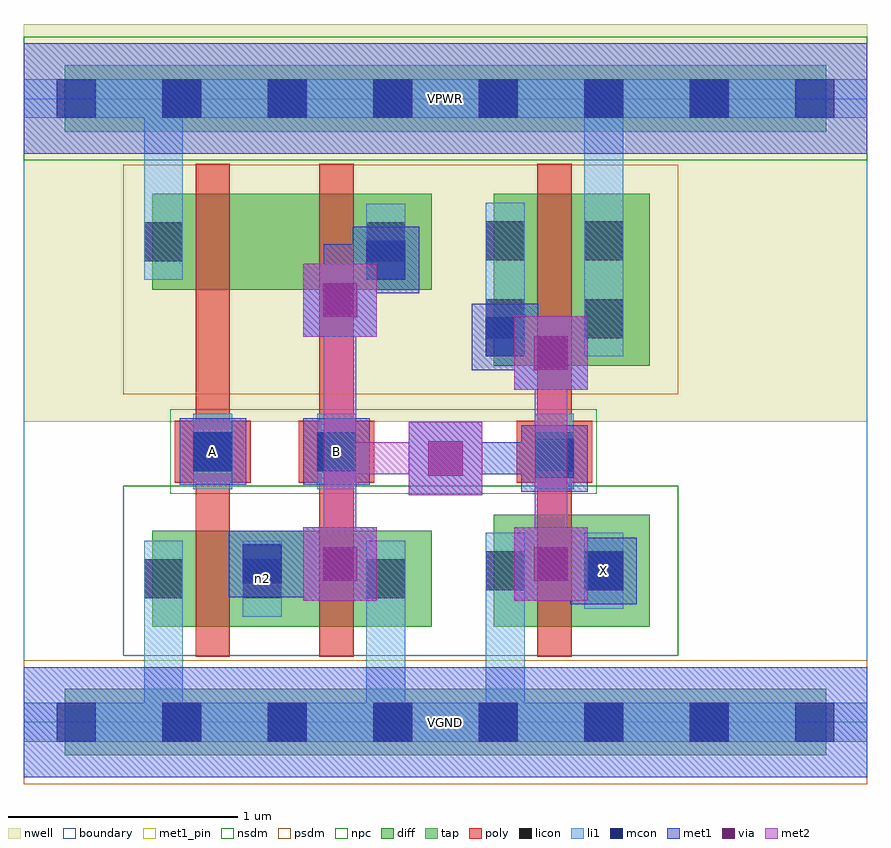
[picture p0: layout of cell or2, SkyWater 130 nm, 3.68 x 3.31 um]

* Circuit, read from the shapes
.subckt or2 A B VGND VPWR X n2
XM1 n2 A VGND VGND sky130_fd_pr__nfet_01v8 w=0.42 l=0.15
XM2 VGND B n2 VGND sky130_fd_pr__nfet_01v8 w=0.42 l=0.15
XM3 X n2 VGND VGND sky130_fd_pr__nfet_01v8 w=0.49 l=0.15
XM4 n1 A VPWR VPWR sky130_fd_pr__pfet_01v8 w=0.42 l=0.15
XM5 n2 B n1 VPWR sky130_fd_pr__pfet_01v8 w=0.42 l=0.15
XM6 VPWR n2 X VPWR sky130_fd_pr__pfet_01v8 w=0.75 l=0.15
.ends

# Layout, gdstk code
import gdstk
lib = gdstk.Library(unit=1e-6, precision=1e-09)
def R(c, l, rs):  # rectangles x0, y0, x1, y1
    for r in rs: c.add(gdstk.rectangle(r[:2], r[2:], *l))
def A(c, l, x, y, w, h, nx, ny, dx, dy):  # array of equal rectangles
    R(c, l, [(x+i*dx, y+j*dy, x+i*dx+w, y+j*dy+h) for i in range(nx) for j in range(ny)])
nwell = (64, 20)
diff = (65, 20)
tap = (65, 44)
poly = (66, 20)
licon = (66, 44)
li1 = (67, 20)
mcon = (67, 44)
met1_pin = (68, 16)
met1 = (68, 20)
via = (68, 44)
met2 = (69, 20)
nsdm = (93, 44)
psdm = (94, 20)
npc = (95, 20)
boundary = (235, 4)

or2 = lib.new_cell('or2')
R(or2, nwell, [(0,1.31,3.68,3.045)])
R(or2, diff, [(0.56,0.415,1.78,0.835), (2.05,0.415,2.73,0.905), (2.05,1.555,2.73,2.305), (0.56,1.885,1.78,2.305)])
R(or2, tap, [(0.18,-0.145,3.5,0.145), (0.18,2.575,3.5,2.865)])
R(or2, poly, [(0.75,0.285,0.9,2.435), (1.29,0.285,1.44,2.435), (2.24,0.285,2.39,2.435), (0.66,1.045,0.99,1.315), (1.2,1.045,1.53,1.315), (2.15,1.045,2.48,1.315)])
A(or2, licon, 0.605, -0.085, 0.17, 0.17, 6, 2, 0.46, 2.72)
R(or2, licon, [(0.525,0.54,0.695,0.71), (0.955,0.54,1.125,0.71), (1.495,0.54,1.665,0.71), (2.015,0.575,2.185,0.745), (2.445,0.575,2.615,0.745), (0.74,1.095,0.91,1.265), (1.28,1.095,1.45,1.265), (2.23,1.095,2.4,1.265), (2.015,1.675,2.185,1.845), (2.445,1.675,2.615,1.845), (0.525,2.01,0.695,2.18), (1.495,2.01,1.665,2.18), (2.015,2.015,2.185,2.185), (2.445,2.015,2.615,2.185)])
R(or2, li1, [(0,-0.085,3.68,0.085), (0.525,-0.085,0.695,0.79), (1.495,-0.085,1.665,0.79), (2.015,-0.085,2.185,0.825), (0.525,0.46,0.695,0.79), (0.955,0.46,1.125,0.79), (1.495,0.46,1.665,0.79), (2.015,0.495,2.185,0.825), (2.445,0.495,2.615,0.825), (0.74,1.015,0.91,1.345), (1.28,1.015,1.45,1.345), (2.23,1.015,2.4,1.345), (2.015,1.595,2.185,2.265), (2.445,1.595,2.615,2.265), (2.445,1.595,2.615,2.805), (0.525,1.93,0.695,2.26), (0.525,1.93,0.695,2.805), (1.495,1.93,1.665,2.26), (0,2.635,3.68,2.805)])
A(or2, mcon, 0.145, -0.085, 0.17, 0.17, 8, 2, 0.46, 2.72)
R(or2, mcon, [(2.445,0.575,2.615,0.745), (0.955,0.605,1.125,0.775), (2.23,1.065,2.4,1.235), (0.74,1.095,0.91,1.265), (1.28,1.095,1.45,1.265), (2.015,1.595,2.185,1.765), (1.495,1.93,1.665,2.1)])
R(or2, met1_pin, [(0,-0.24,3.68,0.24), (2.385,0.515,2.675,0.805), (0.68,1.035,0.97,1.325), (1.22,1.035,1.51,1.325), (0,2.48,3.68,2.96)])
R(or2, met1, [(0,-0.24,3.68,0.24), (2.385,0.515,2.675,0.805), (1.22,0.53,1.54,0.85), (2.14,0.53,2.46,0.85), (0.895,0.545,1.185,0.835), (1.185,0.545,1.22,0.835), (0.97,0.62,1.22,0.76), (1.08,0.62,1.45,0.76), (2.23,0.62,2.6,0.76), (2.46,0.62,2.6,0.76), (1.68,0.99,2,1.31), (2.17,1.005,2.46,1.295), (0.68,1.035,0.97,1.325), (1.22,1.035,1.51,1.325), (1.77,1.08,2.255,1.22), (2.115,1.08,2.385,1.22), (2.14,1.45,2.46,1.77), (1.955,1.535,2.245,1.825), (2.23,1.54,2.37,1.75), (2.03,1.61,2.37,1.75), (1.22,1.68,1.54,2), (1.31,1.77,1.45,2.085), (1.435,1.87,1.725,2.16), (1.31,1.945,1.65,2.085), (0,2.48,3.68,2.96)])
R(or2, via, [(1.305,0.615,1.455,0.765), (2.225,0.615,2.375,0.765), (1.765,1.075,1.915,1.225), (2.225,1.535,2.375,1.685), (1.305,1.765,1.455,1.915)])
R(or2, met2, [(1.22,0.53,1.54,0.85), (2.14,0.53,2.46,0.85), (1.31,0.62,1.45,1.91), (2.23,0.62,2.37,1.68), (1.68,0.99,2,1.31), (1.31,1.08,1.91,1.22), (2.14,1.45,2.46,1.77), (1.22,1.68,1.54,2)])
R(or2, nsdm, [(0.435,0.29,2.855,1.03), (0,2.45,3.68,2.99)])
R(or2, psdm, [(0,-0.27,3.68,0.27), (0.435,1.43,2.855,2.43)])
R(or2, npc, [(0.64,0.995,2.5,1.365)])
R(or2, boundary, [(0,0,3.68,2.72)])
or2.add(gdstk.Label('n2', (1.04,0.625), layer=67, texttype=5))
or2.add(gdstk.Label('A', (0.825,1.18), layer=68, texttype=5))
or2.add(gdstk.Label('B', (1.365,1.18), layer=68, texttype=5))
or2.add(gdstk.Label('X', (2.53,0.66), layer=68, texttype=5))
or2.add(gdstk.Label('VPWR', (1.84,2.72), layer=68, texttype=5))
or2.add(gdstk.Label('VGND', (1.84,0), layer=68, texttype=5))
or2.add(gdstk.Label('A', (0.825,1.18), layer=68, texttype=16))
or2.add(gdstk.Label('B', (1.365,1.18), layer=68, texttype=16))
or2.add(gdstk.Label('X', (2.53,0.66), layer=68, texttype=16))
or2.add(gdstk.Label('VPWR', (1.84,2.72), layer=68, texttype=16))
or2.add(gdstk.Label('VGND', (1.84,0), layer=68, texttype=16))

lib.write_gds('or2.gds')
